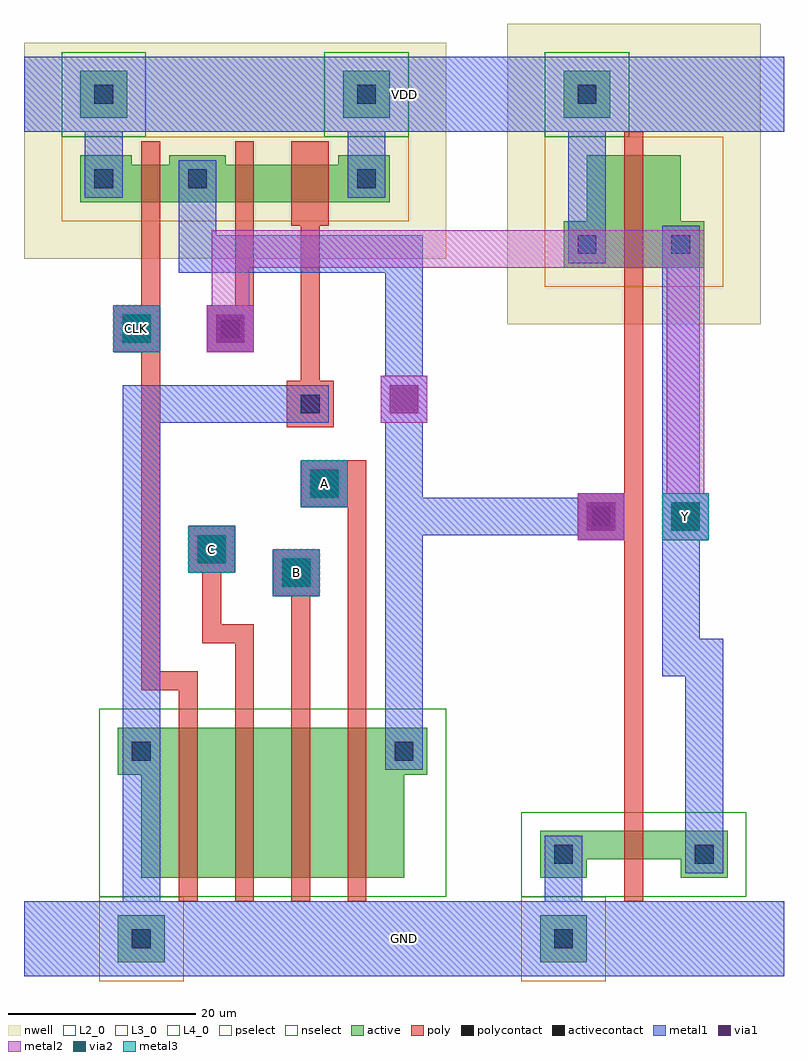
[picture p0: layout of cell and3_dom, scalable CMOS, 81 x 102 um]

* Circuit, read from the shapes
.subckt and3_dom A B C CLK GND VDD Y
M1 n1 CLK GND GND nfet w=16u l=2u
M2 n2 C n1 GND nfet w=16u l=2u
M3 n3 B n2 GND nfet w=16u l=2u
M4 inv_hskew_0/X A n3 GND nfet w=16u l=2u
M5 Y inv_hskew_0/X GND GND nfet w=3u l=2u
M6 inv_hskew_0/X CLK VDD VDD pfet w=4u l=2u
M7 n4 Y inv_hskew_0/X VDD pfet w=4u l=2u
M8 VDD GND n4 VDD pfet w=4u l=4u
M9 Y inv_hskew_0/X VDD VDD pfet w=12u l=2u
.ends

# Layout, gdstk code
import gdstk
lib = gdstk.Library(unit=1e-6, precision=1e-09)
def R(c, l, rs):  # rectangles x0, y0, x1, y1
    for r in rs: c.add(gdstk.rectangle(r[:2], r[2:], *l))
def A(c, l, x, y, w, h, nx, ny, dx, dy):  # array of equal rectangles
    R(c, l, [(x+i*dx, y+j*dy, x+i*dx+w, y+j*dy+h) for i in range(nx) for j in range(ny)])
def P(c, l, *ps):  # polygons
    for p in ps: c.add(gdstk.Polygon(p, *l))
L2_0 = (2, 0)
L3_0 = (3, 0)
L4_0 = (4, 0)
nwell = (42, 0)
active = (43, 0)
pselect = (44, 0)
nselect = (45, 0)
poly = (46, 0)
polycontact = (47, 0)
activecontact = (48, 0)
metal1 = (49, 0)
via1 = (50, 0)
metal2 = (51, 0)
via2 = (61, 0)
metal3 = (62, 0)

inv_hskew = lib.new_cell('inv_hskew')
R(inv_hskew, L2_0, [(-11,-94.5,21,-86.5), (-11,-4.5,21,3.5)])
R(inv_hskew, L3_0, [(-1,-48,4,-43), (8,-48,13,-43)])
R(inv_hskew, nwell, [(-8.5,-25,18.5,7)])
R(inv_hskew, active, [(-5,-93,0,-88), (-2.5,-3,2.5,2)])
P(inv_hskew, active, [(-5,-84),(0,-84),(0,-82),(10,-82),(10,-84),(15,-84),(15,-79),(-5,-79)],
  [(-2.5,-19),(12.5,-19),(12.5,-14),(10,-14),(10,-7),(0,-7),(0,-14),(-2.5,-14)])
R(inv_hskew, pselect, [(-7,-95,2,-86), (-4.5,-21,14.5,-5)])
R(inv_hskew, nselect, [(-7,-86,17,-77), (-4.5,-5,4.5,4)])
R(inv_hskew, poly, [(4,-86.5,6,-78), (-1,-48,4,-43), (4,-13,6,-4.5)])
R(inv_hskew, polycontact, [(0.5,-46.5,2.5,-44.5)])
R(inv_hskew, activecontact, [(-3.5,-91.5,-1.5,-89.5), (-3.5,-82.5,-1.5,-80.5), (11.5,-82.5,13.5,-80.5), (-1,-17.5,1,-15.5), (9,-17.5,11,-15.5), (-1,-1.5,1,0.5)])
R(inv_hskew, metal1, [(-11,-94.5,21,-86.5), (-4.5,-92.5,-0.5,-88.5), (-4.5,-83.5,-0.5,-79.5), (10.5,-83.5,14.5,-79.5), (-1,-48,4,-43), (8,-48,13,-43), (-2,-18.5,2,-14.5), (8,-18.5,12,-14.5), (-11,-4.5,21,3.5), (-2,-2.5,2,1.5)])
R(inv_hskew, via1, [(0,-47,3,-44), (9,-47,12,-44)])
R(inv_hskew, metal2, [(-1,-48,4,-43), (8,-48,13,-43)])
inv_hskew.add(gdstk.FlexPath([(5,-13),(5,-78)], 2, ends="flush", simple_path=True, layer=46, datatype=0))  # poly
inv_hskew.add(gdstk.FlexPath([(10,-48),(10,-60.5),(12.5,-60.5),(12.5,-79.5)], 4, ends="flush", simple_path=True, layer=49, datatype=0))  # metal1
inv_hskew.add(gdstk.FlexPath([(-2.5,-83.5),(-2.5,-88.5)], 4, ends="flush", simple_path=True, layer=49, datatype=0))  # metal1
inv_hskew.add(gdstk.FlexPath([(0,-14.5),(0,-2.5)], 4, ends="flush", simple_path=True, layer=49, datatype=0))  # metal1
inv_hskew.add(gdstk.FlexPath([(10,-18.5),(10,-43)], 4, ends="flush", simple_path=True, layer=49, datatype=0))  # metal1
inv_hskew.add(gdstk.Label('VDD', (5,-0.5), layer=2, texttype=0))
inv_hskew.add(gdstk.Label('GND', (5,-90.5), layer=2, texttype=0))
inv_hskew.add(gdstk.Label('X', (1.5,-45.5), layer=3, texttype=0))
inv_hskew.add(gdstk.Label('Y', (10.5,-45.5), layer=3, texttype=0))

nand3_dyn = lib.new_cell('nand3_dyn')
R(nand3_dyn, L2_0, [(0,-99.5,49,-91.5), (0,-9.5,49,-1.5)])
R(nand3_dyn, L3_0, [(26.5,-59,31.5,-54), (17.5,-56.5,22.5,-51.5), (29.5,-49.5,34.5,-44.5), (38,-40.5,43,-35.5), (9.5,-33,14.5,-28), (19.5,-33,24.5,-28)])
R(nand3_dyn, nwell, [(0,-23,45,0)])
R(nand3_dyn, active, [(10,-98,15,-93), (6,-8,11,-3), (34,-8,39,-3)])
P(nand3_dyn, active, [(6,-17),(39,-17),(39,-12),(33.5,-12),(33.5,-13),(21.5,-13),(21.5,-12),(15.5,-12),(15.5,-13),(11.5,-13),(11.5,-12),(6,-12)],
  [(10,-78),(12.5,-78),(12.5,-89),(40.5,-89),(40.5,-78),(43,-78),(43,-73),(10,-73)])
R(nand3_dyn, pselect, [(8,-100,17,-91), (4,-19,41,-10)])
R(nand3_dyn, nselect, [(8,-91,45,-71), (4,-10,13,-1), (32,-10,41,-1)])
A(nand3_dyn, poly, 16.5, -91.5, 2, 21, 4, 1, 6, 0)
R(nand3_dyn, poly, [(26.5,-59,31.5,-54), (17.5,-56.5,22.5,-51.5), (29.5,-49.5,34.5,-44.5), (28,-41,33,-36), (9.5,-33,14.5,-28), (19.5,-33,24.5,-28), (12.5,-19.5,14.5,-10.5), (22.5,-19.5,24.5,-10.5), (28.5,-19.5,32.5,-10.5)])
R(nand3_dyn, polycontact, [(28,-57.5,30,-55.5), (19,-55,21,-53), (31,-48,33,-46), (29.5,-39.5,31.5,-37.5), (11,-31.5,13,-29.5), (21,-31.5,23,-29.5)])
R(nand3_dyn, activecontact, [(11.5,-96.5,13.5,-94.5), (11.5,-76.5,13.5,-74.5), (39.5,-76.5,41.5,-74.5), (7.5,-15.5,9.5,-13.5), (17.5,-15.5,19.5,-13.5), (35.5,-15.5,37.5,-13.5), (7.5,-6.5,9.5,-4.5), (35.5,-6.5,37.5,-4.5)])
R(nand3_dyn, metal1, [(0,-99.5,49,-91.5), (10.5,-97.5,14.5,-93.5), (10.5,-77.5,14.5,-73.5), (38.5,-77.5,42.5,-73.5), (26.5,-59,31.5,-54), (17.5,-56.5,22.5,-51.5), (29.5,-49.5,34.5,-44.5), (28.5,-40.5,32.5,-36.5), (38,-40.5,43,-35.5), (9.5,-33,14.5,-28), (19.5,-33,24.5,-28), (16.5,-24.5,42.5,-20.5), (6.5,-16.5,10.5,-12.5), (16.5,-16.5,20.5,-12.5), (34.5,-16.5,38.5,-12.5), (0,-9.5,49,-1.5), (6.5,-7.5,10.5,-3.5), (34.5,-7.5,38.5,-3.5)])
R(nand3_dyn, via1, [(27.5,-58,30.5,-55), (18.5,-55.5,21.5,-52.5), (30.5,-48.5,33.5,-45.5), (39,-39.5,42,-36.5), (10.5,-32,13.5,-29), (20.5,-32,23.5,-29)])
R(nand3_dyn, metal2, [(26.5,-59,31.5,-54), (17.5,-56.5,22.5,-51.5), (29.5,-49.5,34.5,-44.5), (38,-40.5,43,-35.5), (9.5,-33,14.5,-28), (19.5,-33,24.5,-28)])
nand3_dyn.add(gdstk.FlexPath([(13.5,-19.5),(13.5,-28)], 2, ends="flush", simple_path=True, layer=46, datatype=0))  # poly
nand3_dyn.add(gdstk.FlexPath([(23.5,-19.5),(23.5,-28)], 2, ends="flush", simple_path=True, layer=46, datatype=0))  # poly
nand3_dyn.add(gdstk.FlexPath([(29.5,-70.5),(29.5,-59)], 2, ends="flush", simple_path=True, layer=46, datatype=0))  # poly
nand3_dyn.add(gdstk.FlexPath([(30.5,-19.5),(30.5,-36)], 2, ends="flush", simple_path=True, layer=46, datatype=0))  # poly
nand3_dyn.add(gdstk.FlexPath([(23.5,-70.5),(23.5,-63),(20,-63),(20,-56.5)], 2, ends="flush", simple_path=True, layer=46, datatype=0))  # poly
nand3_dyn.add(gdstk.FlexPath([(35.5,-70.5),(35.5,-44.5)], 2, ends="flush", simple_path=True, layer=46, datatype=0))  # poly
nand3_dyn.add(gdstk.FlexPath([(17.5,-70.5),(17.5,-68),(13.5,-68),(13.5,-33)], 2, ends="flush", simple_path=True, layer=46, datatype=0))  # poly
nand3_dyn.add(gdstk.FlexPath([(18.5,-16.5),(18.5,-20.5)], 4, ends="flush", simple_path=True, layer=49, datatype=0))  # metal1
nand3_dyn.add(gdstk.FlexPath([(36.5,-12.5),(36.5,-7.5)], 4, ends="flush", simple_path=True, layer=49, datatype=0))  # metal1
nand3_dyn.add(gdstk.FlexPath([(40.5,-35.5),(40.5,-24.5)], 4, ends="flush", simple_path=True, layer=49, datatype=0))  # metal1
nand3_dyn.add(gdstk.FlexPath([(12.5,-73.5),(12.5,-40.5)], 4, ends="flush", simple_path=True, layer=49, datatype=0))  # metal1
nand3_dyn.add(gdstk.FlexPath([(28.5,-38.5),(10.5,-38.5)], 4, ends="flush", simple_path=True, layer=49, datatype=0))  # metal1
nand3_dyn.add(gdstk.FlexPath([(8.5,-12.5),(8.5,-7.5)], 4, ends="flush", simple_path=True, layer=49, datatype=0))  # metal1
nand3_dyn.add(gdstk.FlexPath([(12.5,-93.5),(12.5,-77.5)], 4, ends="flush", simple_path=True, layer=49, datatype=0))  # metal1
nand3_dyn.add(gdstk.FlexPath([(40.5,-73.5),(40.5,-40.5)], 4, ends="flush", simple_path=True, layer=49, datatype=0))  # metal1
nand3_dyn.add(gdstk.Label('VDD', (25.5,-5.5), layer=2, texttype=0))
nand3_dyn.add(gdstk.Label('GND', (23.5,-95.5), layer=2, texttype=0))
nand3_dyn.add(gdstk.Label('C', (20,-54), layer=3, texttype=0))
nand3_dyn.add(gdstk.Label('A', (32,-47), layer=3, texttype=0))
nand3_dyn.add(gdstk.Label('B', (29,-56.5), layer=3, texttype=0))
nand3_dyn.add(gdstk.Label('Y', (22,-30.5), layer=3, texttype=0))
nand3_dyn.add(gdstk.Label('CLK', (12,-30.5), layer=3, texttype=0))
nand3_dyn.add(gdstk.Label('X', (40.5,-38), layer=3, texttype=0))

and3_dom = lib.new_cell('and3_dom')
R(and3_dom, L2_0, [(0,-99.5,81,-91.5), (0,-9.5,81,-1.5)])
R(and3_dom, L4_0, [(26.5,-59,31.5,-54), (17.5,-56.5,22.5,-51.5), (68,-53,73,-48), (29.5,-49.5,34.5,-44.5), (9.5,-33,14.5,-28)])
R(and3_dom, via2, [(27.5,-58,30.5,-55), (18.5,-55.5,21.5,-52.5), (69,-52,72,-49), (30.5,-48.5,33.5,-45.5), (10.5,-32,13.5,-29)])
R(and3_dom, metal3, [(26.5,-59,31.5,-54), (17.5,-56.5,22.5,-51.5), (68,-53,73,-48), (29.5,-49.5,34.5,-44.5), (9.5,-33,14.5,-28)])
and3_dom.add(gdstk.FlexPath([(59,-50.5),(42.5,-50.5)], 4, ends="flush", simple_path=True, layer=49, datatype=0))  # metal1
and3_dom.add(gdstk.FlexPath([(22,-28),(22,-22),(70.5,-22),(70.5,-48)], 4, ends="flush", simple_path=True, layer=51, datatype=0))  # metal2
and3_dom.add(gdstk.Reference(inv_hskew, (60,-5)))
and3_dom.add(gdstk.Reference(nand3_dyn, (0,0)))
and3_dom.add(gdstk.Label('VDD', (40.5,-5.5), layer=2, texttype=0))
and3_dom.add(gdstk.Label('GND', (40.5,-95.5), layer=2, texttype=0))
and3_dom.add(gdstk.Label('CLK', (12,-30.5), layer=4, texttype=0))
and3_dom.add(gdstk.Label('Y', (70.5,-50.5), layer=4, texttype=0))
and3_dom.add(gdstk.Label('C', (20,-54), layer=4, texttype=0))
and3_dom.add(gdstk.Label('A', (32,-47), layer=4, texttype=0))
and3_dom.add(gdstk.Label('B', (29,-56.5), layer=4, texttype=0))

lib.write_gds('and3_dom.gds')
